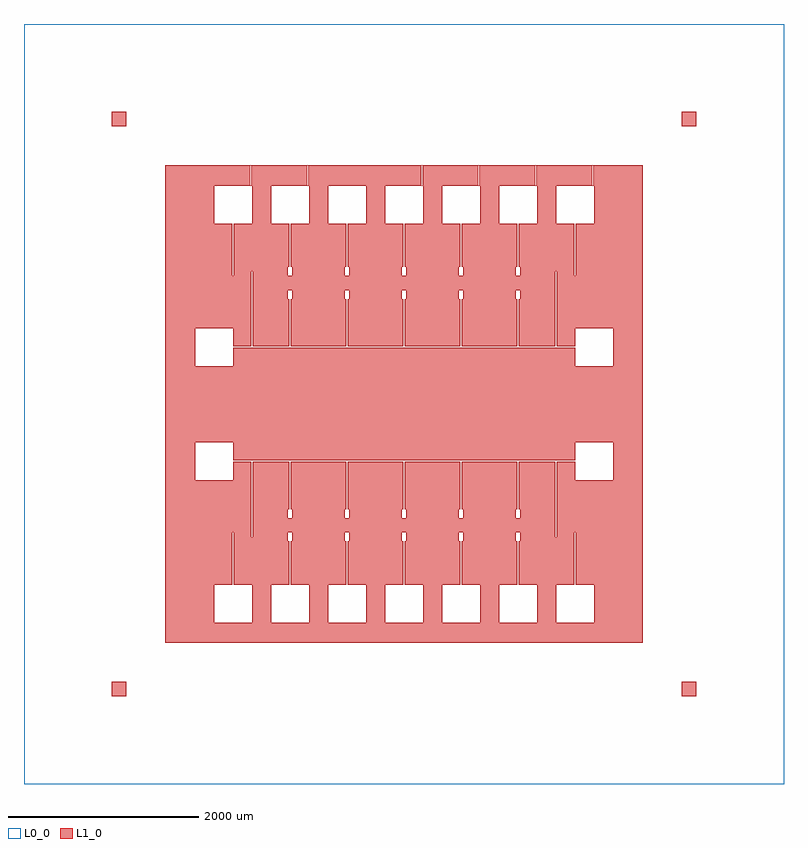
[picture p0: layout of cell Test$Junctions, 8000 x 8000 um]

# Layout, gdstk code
import gdstk
lib = gdstk.Library(unit=1e-6, precision=1e-09)
def R(c, l, rs):  # rectangles x0, y0, x1, y1
    for r in rs: c.add(gdstk.rectangle(r[:2], r[2:], *l))
def P(c, l, *ps):  # polygons
    for p in ps: c.add(gdstk.Polygon(p, *l))
L0_0 = (0, 0)
L1_0 = (1, 0)

test_junctions = lib.new_cell('Test$Junctions')
R(test_junctions, L0_0, [(-4000,-4000,4000,4000)])
P(test_junctions, L1_0, [(-2514,0),(-2514,2514),(-1607.718,2514),(-1607.718,2300),(-2000,2300),(-2000,1900),(-1810,1900),(-1810,1350.01),(-1790,1350.01),(-1790,1900),(-1600,1900),(-1600,2300),(-1617.5,2300),(-1617.5,2514),(-1006.418,2514),(-1006.418,2300),(-1400,2300),(-1400,1900),(-1210,1900),(-1210,1444.85),(-1225,1444.85),(-1225,1350),(-1175,1350),(-1175,1444.85),(-1190,1444.85),(-1190,1900),(-1000,1900),(-1000,2300),(-1017.5,2300),(-1017.5,2514),(-422.5,2514),(-422.5,2300),(-800,2300),(-800,1900),(-610,1900),(-610,1444.85),(-625,1444.85),(-625,1350),(-575,1350),(-575,1444.85),(-590,1444.85),(-590,1900),(-400,1900),(-400,2300),(-417.5,2300),(-417.5,2514),(198.194,2514),(198.194,2300),(-200,2300),(-200,1900),(-10,1900),(-10,1444.85),(-25,1444.85),(-25,1350),(25,1350),(25,1444.85),(10,1444.85),(10,1900),(200,1900),(200,2300),(182.5,2300),(182.5,2514),(791.062,2514),(791.062,2300),(400,2300),(400,1900),(590,1900),(590,1444.85),(575,1444.85),(575,1350),(625,1350),(625,1444.85),(610,1444.85),(610,1900),(800,1900),(800,2300),(782.5,2300),(782.5,2514),(1390.723,2514),(1390.723,2300),(1000,2300),(1000,1900),(1190,1900),(1190,1444.85),(1175,1444.85),(1175,1350),(1225,1350),(1225,1444.85),(1210,1444.85),(1210,1900),(1400,1900),(1400,2300),(1382.5,2300),(1382.5,2514),(1992.758,2514),(1992.758,2300),(1600,2300),(1600,1900),(1790,1900),(1790,1350.01),(1810,1350.01),(1810,1900),(2000,1900),(2000,2300),(1982.5,2300),(1982.5,2514),(2200,2514),(2200,800),(1800,800),(1800,610),(1610,610),(1610,1400),(1590,1400),(1590,610),(1210,610),(1210,1105.15),(1225,1105.15),(1225,1200),(1175,1200),(1175,1105.15),(1190,1105.15),(1190,610),(610,610),(610,1105.15),(625,1105.15),(625,1200),(575,1200),(575,1105.15),(590,1105.15),(590,610),(10,610),(10,1105.15),(25,1105.15),(25,1200),(-25,1200),(-25,1105.15),(-10,1105.15),(-10,610),(-590,610),(-590,1105.15),(-575,1105.15),(-575,1200),(-625,1200),(-625,1105.15),(-610,1105.15),(-610,610),(-1190,610),(-1190,1105.15),(-1175,1105.15),(-1175,1200),(-1225,1200),(-1225,1105.15),(-1210,1105.15),(-1210,610),(-1590,610),(-1590,1400),(-1610,1400),(-1610,610),(-1800,610),(-1800,800),(-2200,800),(-2200,400),(-1800,400),(-1800,590),(1800,590),(1800,400),(2200,400),(2200,2514),(2514,2514),(2514,0)],
  [(-3075,2925),(-3075,3075),(-2958.5,3075),(-2958.5,3001.5),(-2998.5,3001.5),(-2998.5,3041.5),(-3001.5,3041.5),(-3001.5,3001.5),(-3041.5,3001.5),(-3041.5,2998.5),(-3001.5,2998.5),(-3001.5,2958.5),(-2998.5,2958.5),(-2998.5,2998.5),(-2958.5,2998.5),(-2958.5,3075),(-2925,3075),(-2925,2925)],
  [(2925,2925),(2925,3075),(3041.5,3075),(3041.5,3001.5),(3001.5,3001.5),(3001.5,3041.5),(2998.5,3041.5),(2998.5,3001.5),(2958.5,3001.5),(2958.5,2998.5),(2998.5,2998.5),(2998.5,2958.5),(3001.5,2958.5),(3001.5,2998.5),(3041.5,2998.5),(3041.5,3075),(3075,3075),(3075,2925)],
  [(-3075,-3075),(-3075,-2925),(-2958.5,-2925),(-2958.5,-2998.5),(-2998.5,-2998.5),(-2998.5,-2958.5),(-3001.5,-2958.5),(-3001.5,-2998.5),(-3041.5,-2998.5),(-3041.5,-3001.5),(-3001.5,-3001.5),(-3001.5,-3041.5),(-2998.5,-3041.5),(-2998.5,-3001.5),(-2958.5,-3001.5),(-2958.5,-2925),(-2925,-2925),(-2925,-3075)],
  [(2925,-3075),(2925,-2925),(3041.5,-2925),(3041.5,-2998.5),(3001.5,-2998.5),(3001.5,-2958.5),(2998.5,-2958.5),(2998.5,-2998.5),(2958.5,-2998.5),(2958.5,-3001.5),(2998.5,-3001.5),(2998.5,-3041.5),(3001.5,-3041.5),(3001.5,-3001.5),(3041.5,-3001.5),(3041.5,-2925),(3075,-2925),(3075,-3075)],
  [(-2514,-2514),(-2514,0),(2200,0),(2200,-400),(1800,-400),(1800,-590),(-1800,-590),(-1800,-400),(-2200,-400),(-2200,-800),(-1800,-800),(-1800,-610),(-1610,-610),(-1610,-1400),(-1600,-1400),(-1600,-1900),(-1790,-1900),(-1790,-1350.01),(-1810,-1350.01),(-1810,-1900),(-2000,-1900),(-2000,-2300),(-1600,-2300),(-1600,-1400),(-1590,-1400),(-1590,-610),(-1210,-610),(-1210,-1105.3),(-1225,-1105.3),(-1225,-1200.15),(-1175,-1200.15),(-1175,-1105.3),(-1190,-1105.3),(-1190,-610),(-1000,-610),(-1000,-1900),(-1190,-1900),(-1190,-1445),(-1175,-1445),(-1175,-1350.15),(-1225,-1350.15),(-1225,-1445),(-1210,-1445),(-1210,-1900),(-1400,-1900),(-1400,-2300),(-1000,-2300),(-1000,-610),(-610,-610),(-610,-1105.3),(-625,-1105.3),(-625,-1200.15),(-575,-1200.15),(-575,-1105.3),(-590,-1105.3),(-590,-610),(-400,-610),(-400,-1900),(-590,-1900),(-590,-1445),(-575,-1445),(-575,-1350.15),(-625,-1350.15),(-625,-1445),(-610,-1445),(-610,-1900),(-800,-1900),(-800,-2300),(-400,-2300),(-400,-610),(-10,-610),(-10,-1105.3),(-25,-1105.3),(-25,-1200.15),(25,-1200.15),(25,-1105.3),(10,-1105.3),(10,-610),(200,-610),(200,-1900),(10,-1900),(10,-1445),(25,-1445),(25,-1350.15),(-25,-1350.15),(-25,-1445),(-10,-1445),(-10,-1900),(-200,-1900),(-200,-2300),(200,-2300),(200,-610),(590,-610),(590,-1105.3),(575,-1105.3),(575,-1200.15),(625,-1200.15),(625,-1105.3),(610,-1105.3),(610,-610),(800,-610),(800,-1900),(610,-1900),(610,-1445),(625,-1445),(625,-1350.15),(575,-1350.15),(575,-1445),(590,-1445),(590,-1900),(400,-1900),(400,-2300),(800,-2300),(800,-610),(1190,-610),(1190,-1105.3),(1175,-1105.3),(1175,-1200.15),(1225,-1200.15),(1225,-1105.3),(1210,-1105.3),(1210,-610),(1400,-610),(1400,-1900),(1210,-1900),(1210,-1445),(1225,-1445),(1225,-1350.15),(1175,-1350.15),(1175,-1445),(1190,-1445),(1190,-1900),(1000,-1900),(1000,-2300),(1400,-2300),(1400,-610),(1590,-610),(1590,-1400),(1610,-1400),(1610,-610),(1800,-610),(1800,-800),(2000,-800),(2000,-1900),(1810,-1900),(1810,-1350.01),(1790,-1350.01),(1790,-1900),(1600,-1900),(1600,-2300),(2000,-2300),(2000,-800),(2200,-800),(2200,0),(2514,0),(2514,-2514)])

lib.write_gds('Test_Junctions.gds')
